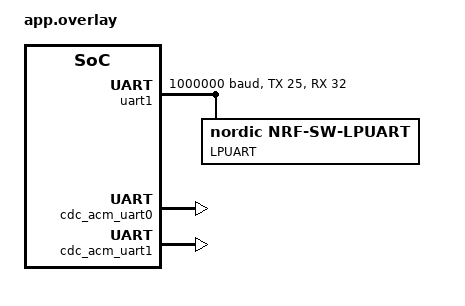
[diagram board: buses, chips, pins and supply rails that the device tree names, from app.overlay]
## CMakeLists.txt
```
# SPDX-License-Identifier: Apache-2.0

cmake_minimum_required(VERSION 3.13.1)

#(db) commented out this line used to build in nordic SDK
#(port to Ardesco)find_package(Zephyr REQUIRED HINTS $ENV{ZEPHYR_BASE})

#(db) Include Ardesco SDK 
set(AR $ENV{ARDESCO_ROOT})
if(DEFINED AR)
   include($ENV{ARDESCO_ROOT}/ardesco.cmake)
else()
   # Assume we are building from the apps folder in Ardesco tree
   include(${CMAKE_CURRENT_SOURCE_DIR}/../../ardesco.cmake)
endif()

project(bluetooth_52app)

# NORDIC SDK APP START
target_sources(app PRIVATE src/main.c)
target_sources(app PRIVATE src/enable_gpio_reset.c)

# Add lib for serial on 52840
add_subdirectory(${ARDESCO_LIB_DIR}/serial_52lib ${CMAKE_BINARY_DIR}/lib/serial_52lib)
# Add lib for usb support on 52840
add_subdirectory(${ARDESCO_LIB_DIR}/usb_uart_52lib ${CMAKE_BINARY_DIR}/lib/usb_uart_52lib)

# NORDIC SDK APP END
```

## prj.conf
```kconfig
#(db) Added this below.
#General
CONFIG_HEAP_MEM_POOL_SIZE=16384
CONFIG_MAIN_STACK_SIZE=1024

CONFIG_REBOOT=y
CONFIG_BOOTLOADER_MCUBOOT=y
CONFIG_GPIO=y

# Nordic Low Power UART driver
CONFIG_UART_1_ASYNC=y
CONFIG_UART_1_INTERRUPT_DRIVEN=n
CONFIG_UART_1_NRF_HW_ASYNC=y
CONFIG_UART_1_NRF_HW_ASYNC_TIMER=2
CONFIG_NRF_SW_LPUART=y
CONFIG_NRF_SW_LPUART_INT_DRIVEN=y

 # USB
CONFIG_USB_DEVICE_STACK=y
CONFIG_USB_DEVICE_MANUFACTURER="Ericcson AB"
CONFIG_USB_DEVICE_PRODUCT="Ardesco UART"
CONFIG_USB_DEVICE_VID=0x1915
CONFIG_USB_DEVICE_PID=0x520F
CONFIG_USB_DEVICE_SN="ARDESCO 12PLACEHLDRS"
CONFIG_USB_COMPOSITE_DEVICE=y
CONFIG_USB_CDC_ACM_RINGBUF_SIZE=4096

# disable console output
CONFIG_CONSOLE=n

#Bluetooth configs
CONFIG_BT_CTLR=y
CONFIG_SERIAL=y
CONFIG_UART_INTERRUPT_DRIVEN=y
CONFIG_BT=y
CONFIG_BT_HCI_RAW=y
CONFIG_BT_HCI_RAW_H4=y
CONFIG_BT_HCI_RAW_H4_ENABLE=y
#CONFIG_BT_RX_BUF_LEN=258
#CONFIG_BT_DISCARDABLE_BUF_SIZE=257
CONFIG_SYSTEM_WORKQUEUE_STACK_SIZE=512
CONFIG_BT_WAIT_NOP=y
CONFIG_BT_MAX_CONN=16
CONFIG_BT_TINYCRYPT_ECC=n
CONFIG_BT_CTLR_DTM_HCI=y
CONFIG_BT_CTLR_ASSERT_HANDLER=y

# Need power management for usb_uart
CONFIG_DEVICE_POWER_MANAGEMENT=y
```

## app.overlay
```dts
/* SPDX-License-Identifier: Apache-2.0 */

/* This tells the HCI bluetooth code to */
/* use the lpuart driver as it's input UART*/
/ {
	chosen {
		zephyr,console = &cdc_acm_uart0;
		zephyr,bt-c2h-uart=&lpuart;
	};
};

/* Delete UART0  handshake lines for reuse.*/
/* App uses the cts-pin (rts on 9160) for */
/* 52840 reset control.*/
&uart0 {
	/delete-property/ rts-pin;
	/delete-property/ cts-pin;
};

/* lpuart mapped to MCU 4-7  */
&uart1 {
	current-speed = <1000000>;
	status = "okay";
	tx-pin = <25>;
	rx-pin = <32>;
	/delete-property/ rts-pin;
	/delete-property/ cts-pin;

	lpuart: nrf-sw-lpuart {
		compatible = "nordic,nrf-sw-lpuart";
		status = "okay";
		label = "LPUART";
		req-pin = <22>;
		rdy-pin = <19>;
	};
};
/* Needed for LPUART */
&gpiote {
	interrupts = <6 NRF_DEFAULT_IRQ_PRIORITY>;
};

&zephyr_udc0 {
	cdc_acm_uart0: cdc_acm_uart0 {
		compatible = "zephyr,cdc-acm-uart";
		label = "CDC_ACM_0";
	};

	cdc_acm_uart1 {
		compatible = "zephyr,cdc-acm-uart";
		label = "CDC_ACM_1";
	};
};
```

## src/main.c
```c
/*
 * Copyright (c) 2016 Nordic Semiconductor ASA
 * Copyright (c) 2015-2016 Intel Corporation
 * Copyright (c) 2021 Ericsson AB
 *
 * This code is almost identical to the 
 * hci_lpuart sample which uses the main.c from 
 * hci_uart example. Changes were made to use
 * the ardesco serial_52lib to make sure
 * the serial ISRs all share an identical
 * entry point.
 *
 * SPDX-License-Identifier: Apache-2.0
 */

#include <errno.h>
#include <stddef.h>
#include <stdio.h>
#include <string.h>

// Ardesco port
#include <ardesco.h>
#include <serial_52lib.h>
#include <usb_uart.h>

#include <arch/cpu.h>
#include <sys/byteorder.h>
#include <logging/log.h>
#include <sys/util.h>

#include <device.h>
#include <init.h>
#include <drivers/uart.h>

#include <net/buf.h>
#include <bluetooth/bluetooth.h>
#include <bluetooth/l2cap.h>
#include <bluetooth/hci.h>
#include <bluetooth/buf.h>
#include <bluetooth/hci_raw.h>

#define LOG_MODULE_NAME hci_uart
LOG_MODULE_REGISTER(LOG_MODULE_NAME);

static const struct device *hci_uart_dev;
static K_THREAD_STACK_DEFINE(tx_thread_stack, CONFIG_BT_HCI_TX_STACK_SIZE);
static struct k_thread tx_thread_data;
static K_FIFO_DEFINE(tx_queue);

/* RX in terms of bluetooth communication */
static K_FIFO_DEFINE(uart_tx_queue);

#define H4_CMD 0x01
#define H4_ACL 0x02
#define H4_SCO 0x03
#define H4_EVT 0x04

/* Receiver states. */
#define ST_IDLE 0	/* Waiting for packet type. */
#define ST_HDR 1	/* Receiving packet header. */
#define ST_PAYLOAD 2	/* Receiving packet payload. */
#define ST_DISCARD 3	/* Dropping packet. */

/* Length of a discard/flush buffer.
 * This is sized to align with a BLE HCI packet:
 * 1 byte H:4 header + 32 bytes ACL/event data
 * Bigger values might overflow the stack since this is declared as a local
 * variable, smaller ones will force the caller to call into discard more
 * often.
 */
#define H4_DISCARD_LEN 33

static int h4_read(const struct device *uart, uint8_t *buf, size_t len)
{
	int rx = uart_fifo_read(uart, buf, len);

	LOG_DBG("read %d req %d", rx, len);
	return rx;
}

static bool valid_type(uint8_t type)
{
	return (type == H4_CMD) | (type == H4_ACL);
}

/* Function assumes that type is validated and only CMD or ACL will be used. */
static uint32_t get_len(const uint8_t *hdr_buf, uint8_t type)
{
	return (type == BT_BUF_CMD) ?
		((const struct bt_hci_cmd_hdr *)hdr_buf)->param_len :
		sys_le16_to_cpu(((const struct bt_hci_acl_hdr *)hdr_buf)->len);
}

/* Function assumes that type is validated and only CMD or ACL will be used. */
static int hdr_len(uint8_t type)
{
	return (type == H4_CMD) ?
		sizeof(struct bt_hci_cmd_hdr) : sizeof(struct bt_hci_acl_hdr);
}

static void rx_isr(void)
{
	static struct net_buf *buf;
	static int remaining;
	static uint8_t state;
	static uint8_t type;
	static uint8_t hdr_buf[MAX(sizeof(struct bt_hci_cmd_hdr),
			sizeof(struct bt_hci_acl_hdr))];
	int read;

	do {
		switch (state) {
		case ST_IDLE:
			/* Get packet type */
			read = h4_read(hci_uart_dev, &type, sizeof(type));
			/* since we read in loop until no data is in the fifo,
			 * it is possible that read = 0.
			 */
			if (read) {
				if (valid_type(type)) {
					/* Get expected header size and switch
					 * to receiving header.
					 */
					remaining = hdr_len(type);
					state = ST_HDR;
				} else {
					LOG_WRN("Unknown header %d", type);
				}
			}
			break;
		case ST_HDR:
			read = h4_read(hci_uart_dev,
				       &hdr_buf[hdr_len(type) - remaining],
				       remaining);
			remaining -= read;
			if (remaining == 0) {
				/* Header received. Allocate buffer and get
				 * payload length. If allocation fails leave
				 * interrupt. On failed allocation state machine
				 * is reset.
				 */
				buf = bt_buf_get_tx(BT_BUF_H4, K_NO_WAIT,
						    &type, sizeof(type));
				if (!buf) {
					state = ST_IDLE;
					return;
				}

				remaining = get_len(hdr_buf, type);

				net_buf_add_mem(buf, hdr_buf, hdr_len(type));
				if (remaining > net_buf_tailroom(buf)) {
					LOG_ERR("Not enough space in buffer");
					net_buf_unref(buf);
					state = ST_DISCARD;
				} else {
					state = ST_PAYLOAD;
				}

			}
			break;
		case ST_PAYLOAD:
			read = h4_read(hci_uart_dev, net_buf_tail(buf),
				       remaining);
			buf->len += read;
			remaining -= read;
			if (remaining == 0) {
				/* Packet received */
				LOG_DBG("putting RX packet in queue.");
				net_buf_put(&tx_queue, buf);
				state = ST_IDLE;
			}
			break;
		case ST_DISCARD:
		{
			uint8_t discard[H4_DISCARD_LEN];
			size_t to_read = MIN(remaining, sizeof(discard));

			read = h4_read(hci_uart_dev, discard, to_read);
			remaining -= read;
			if (remaining == 0) {
				state = ST_IDLE;
			}

			break;

		}
		default:
			read = 0;
			__ASSERT_NO_MSG(0);
			break;

		}
	} while (read);
}

static void tx_isr(void)
{
	static struct net_buf *buf;
	int len;

	if (!buf) {
		buf = net_buf_get(&uart_tx_queue, K_NO_WAIT);
		if (!buf) {
			uart_irq_tx_disable(hci_uart_dev);
			return;
		}
	}

	len = uart_fifo_fill(hci_uart_dev, buf->data, buf->len);
	net_buf_pull(buf, len);
	if (!buf->len) {
		net_buf_unref(buf);
		buf = NULL;
	}
}

static void bt_uart_isr(const struct device *unused, void *user_data)
{
	ARG_UNUSED(unused);
	ARG_UNUSED(user_data);

	if (!(uart_irq_rx_ready(hci_uart_dev) ||
	      uart_irq_tx_ready(hci_uart_dev))) {
		LOG_DBG("spurious interrupt");
	}

	if (uart_irq_tx_ready(hci_uart_dev)) {
		tx_isr();
	}

	if (uart_irq_rx_ready(hci_uart_dev)) {
		rx_isr();
	}
}

static void tx_thread(void *p1, void *p2, void *p3)
{
	while (1) {
		struct net_buf *buf;
		int err;

		/* Wait until a buffer is available */
		buf = net_buf_get(&tx_queue, K_FOREVER);

		/* Pass buffer to the stack */
		err = bt_send(buf);
		if (err) {
			LOG_ERR("Unable to send (err %d)", err);
			net_buf_unref(buf);
		}
		/* Give other threads a chance to run if tx_queue keeps getting
		 * new data all the time.
		 */
		k_yield();
	}
}

static int h4_send(struct net_buf *buf)
{
	LOG_DBG("buf %p type %u len %u", buf, bt_buf_get_type(buf),
		    buf->len);

	net_buf_put(&uart_tx_queue, buf);
	uart_irq_tx_enable(hci_uart_dev);

	return 0;
}

#if defined(CONFIG_BT_CTLR_ASSERT_HANDLER)
void bt_ctlr_assert_handle(char *file, uint32_t line)
{
	uint32_t len = 0U, pos = 0U;

	/* Disable interrupts, this is unrecoverable */
	(void)irq_lock();

	uart_irq_rx_disable(hci_uart_dev);
	uart_irq_tx_disable(hci_uart_dev);

	if (file) {
		while (file[len] != '\0') {
			if (file[len] == '/') {
				pos = len + 1;
			}
			len++;
		}
		file += pos;
		len -= pos;
	}

	uart_poll_out(hci_uart_dev, H4_EVT);
	/* Vendor-Specific debug event */
	uart_poll_out(hci_uart_dev, 0xff);
	/* 0xAA + strlen + \0 + 32-bit line number */
	uart_poll_out(hci_uart_dev, 1 + len + 1 + 4);
	uart_poll_out(hci_uart_dev, 0xAA);

	if (len) {
		while (*file != '\0') {
			uart_poll_out(hci_uart_dev, *file);
			file++;
		}
		uart_poll_out(hci_uart_dev, 0x00);
	}

	uart_poll_out(hci_uart_dev, line >> 0 & 0xff);
	uart_poll_out(hci_uart_dev, line >> 8 & 0xff);
	uart_poll_out(hci_uart_dev, line >> 16 & 0xff);
	uart_poll_out(hci_uart_dev, line >> 24 & 0xff);

	while (1) {
	}
}
#endif /* CONFIG_BT_CTLR_ASSERT_HANDLER */

// Structures used to provide isr forwarding info
static struct serial_isr_info isr_info;

/*
 * hci_uart_init - Initializes the uart to the 9160. This routine
 * is called during OS initialization. Note the DEVICE_INIT 
 * declaration below.
 */
static int hci_uart_init(const struct device *unused)
{
	LOG_DBG("");

	/* Derived from DT's bt-c2h-uart chosen node */
	hci_uart_dev = device_get_binding("LPUART");
	if (!hci_uart_dev) {
		return -EINVAL;
	}

	uart_irq_rx_disable(hci_uart_dev);
	uart_irq_tx_disable(hci_uart_dev);

	// Ardesco port
	// Init the struct to pass to the isr handler.
	// We use the serial_52lib call to force all serial ISRs
	// to use the same root ISR routine.
	isr_info.irq_fn = bt_uart_isr;
	isr_info.user_data = 0;
	serial_lib_register_isr (hci_uart_dev, &isr_info);

	uart_irq_rx_enable(hci_uart_dev);

	return 0;
}

// Causes hci_uart_init routine to be called during OS init.
#if (NRF_VERSION_MAJOR == 1) && (NRF_VERSION_MINOR < 5)
DEVICE_INIT(hci_uart, "hci_uart", &hci_uart_init, NULL, NULL,
	    APPLICATION, CONFIG_KERNEL_INIT_PRIORITY_DEVICE);
#else
SYS_DEVICE_DEFINE("hci_uart", hci_uart_init, NULL,
		  APPLICATION, CONFIG_KERNEL_INIT_PRIORITY_DEVICE);
#endif
/*
 * main - Program entry point.
 */
void main(void)
{
	/* incoming events and data from the controller */
	static K_FIFO_DEFINE(rx_queue);
	int err;

	LOG_DBG("Start");
	__ASSERT(hci_uart_dev, "UART device is NULL");

	// Ardesco port
	serial_lib_init();
	// Start the uart to USB relay code.
	usb_uart_init();

	/* Enable the raw interface, this will in turn open the HCI driver */
	bt_enable_raw(&rx_queue);

	if (IS_ENABLED(CONFIG_BT_WAIT_NOP)) {
		/* Issue a Command Complete with NOP */
		int i;

		const struct {
			const uint8_t h4;
			const struct bt_hci_evt_hdr hdr;
			const struct bt_hci_evt_cmd_complete cc;
		} __packed cc_evt = {
			.h4 = H4_EVT,
			.hdr = {
				.evt = BT_HCI_EVT_CMD_COMPLETE,
				.len = sizeof(struct bt_hci_evt_cmd_complete),
			},
			.cc = {
				.ncmd = 1,
				.opcode = sys_cpu_to_le16(BT_OP_NOP),
			},
		};

		for (i = 0; i < sizeof(cc_evt); i++) {
			uart_poll_out(hci_uart_dev,
				      *(((const uint8_t *)&cc_evt)+i));
		}
	}

	/* Spawn the TX thread and start feeding commands and data to the
	 * controller
	 */
	k_thread_create(&tx_thread_data, tx_thread_stack,
			K_THREAD_STACK_SIZEOF(tx_thread_stack), tx_thread,
			NULL, NULL, NULL, K_PRIO_COOP(7), 0, K_NO_WAIT);
	k_thread_name_set(&tx_thread_data, "HCI uart TX");

	while (1) {
		struct net_buf *buf;
		buf = net_buf_get(&rx_queue, K_FOREVER);
		err = h4_send(buf);
		if (err) {
			LOG_ERR("Failed to send");
		}
	}
}
```

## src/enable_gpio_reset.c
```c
/*
 * Copyright (c) Ericsson AB 2020, all rights reserved
 */

#include <init.h>

#include <power/reboot.h>
#include <drivers/gpio.h>

// Used to locate the GPIO for the blue LED.
#define LED_GPIO_NUM         DT_GPIO_PIN(DT_ALIAS(led0), gpios)
#define LED_GPIO_CTRLR       DT_GPIO_LABEL(DT_ALIAS(led0), gpios)

/*
 * led_ctl - Simple routine to turn the LED attached to the 52840 on and off.
 */
int led_ctl (bool on)
{
	int rc;

	printk ("led_ctl++ %d\n", on);

	// Get GPIO driver
	const struct device *gpio_dev = device_get_binding(LED_GPIO_CTRLR);
	if (!gpio_dev) {
		printk("Cannot find %s!\n", LED_GPIO_CTRLR);
		return -ENODEV;
	}

	// Write gpio
	rc = gpio_pin_set_raw(gpio_dev, LED_GPIO_NUM, (on != 0) ? 1 : 0);

	printk ("led_ctl--\n");
    return rc;

}

/*
 * led_init - Initializes the GPIO connected to the blue LED.
 */
int led_init (void)
{
	int rc;

	// Get GPIO driver
	const struct device *gpio_dev = device_get_binding(LED_GPIO_CTRLR);
	if (!gpio_dev) {
		printk("Cannot find %s!\n", LED_GPIO_CTRLR);
		return -ENODEV;
	}

	// Configure input pin boot button.
	rc = gpio_pin_configure(gpio_dev, LED_GPIO_NUM, GPIO_OUTPUT | GPIO_PULL_UP);

    return rc;

}

#ifdef USE_MCU4
// Set shortcuts for gpio connected to MCU_4 on 52840
#define BOOT_PIN_GPIO_NUM         0
#define BOOT_PIN_GPIO_CTRLR       "GPIO_1"
#else
// Set shortcuts for gpio connected to MCU_2 (UART0_RTS) on 52840
#define BOOT_PIN_GPIO_NUM         20
#define BOOT_PIN_GPIO_CTRLR       "GPIO_0"
#endif

/*
 * reset_pin_wait_low - Spins on the state of the GPIO. Returns
 * when the line goes low.
 */
static void reset_pin_wait_low(const struct device *port, uint32_t pin)
{
	int val;

	/* Wait until the pin is pulled low */
	do {
		val = gpio_pin_get_raw(port, pin);
	} while (val > 0);
}

/*
 * chip_reset - callback function from gpio assert. Called
 * when 9160 raises MCU_4".
 */ 
void chip_reset(const struct device *gpiob, 
					struct gpio_callback *cb, uint32_t pins)
{
	sys_reboot(SYS_REBOOT_COLD);
}

/*
 * config_52840_reset_gpio - configure gpio for 52840 reset function.
 */ 
int config_52840_reset_gpio ()
{
	int rc;
	const struct device *gpio_dev;
	uint32_t pin = 0;
	static struct gpio_callback gpio_ctx;

	// Get GPIO driver
	gpio_dev = device_get_binding(BOOT_PIN_GPIO_CTRLR);
	if (!gpio_dev) {
		printk("Cannot find %s!\n", BOOT_PIN_GPIO_CTRLR);
		return -ENODEV;
	}

	pin = BOOT_PIN_GPIO_NUM;
	rc = gpio_pin_configure(gpio_dev, pin, GPIO_INPUT | GPIO_PULL_DOWN);
	if (rc) {
		return rc;
	}

	// Init and set callback routine when GPIO is asserted.
	gpio_init_callback(&gpio_ctx, chip_reset, BIT(pin));
	rc = gpio_add_callback(gpio_dev, &gpio_ctx);
	if (rc) {
		return rc;
	}

	// Enable GPIO interrupt
	rc = gpio_pin_interrupt_configure(gpio_dev, pin, GPIO_INT_EDGE_RISING);
	if (rc) {
		return rc;
	}

	/* Wait until the pin is pulled low before continuing.
	 * This lets the 9160 sync with our boot.
	 * Light the blue LED on Ardesco to indicate we are waiting.
	 * turn the LED off when we proceed. Useful for debugging.
	 */
	led_ctl (1);
	reset_pin_wait_low(gpio_dev, pin);
	led_ctl (0);

    return rc;
}
/*
 * gpio_reset_init - Called by OS after drivers initialized.
 */
static int gpio_reset_init(const struct device *dev)
{
	ARG_UNUSED(dev);

	led_init ();

	config_52840_reset_gpio ();

	return 0;
}
// Registers gpio_reset_init to be called during init.
SYS_INIT(gpio_reset_init, POST_KERNEL, CONFIG_KERNEL_INIT_PRIORITY_DEVICE);
```
